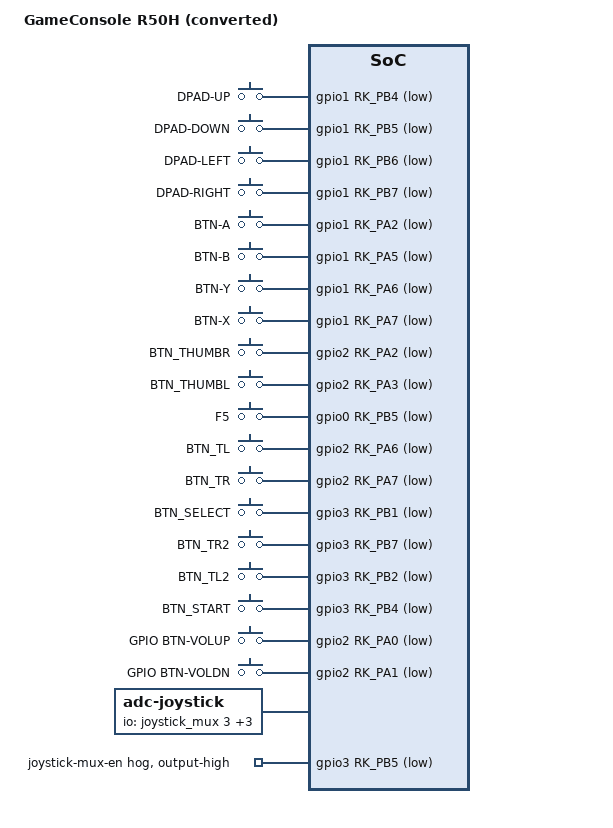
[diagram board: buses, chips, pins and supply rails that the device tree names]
// SPDX-License-Identifier: (GPL-2.0+ OR MIT)
/*
 * GameConsole R50H, converted from a vendor RK3326 device tree by
 * `r36os dtb import` (boot-dtb-select D12). Do not edit: import again.
 * Source: arkos4clone/boot/dArkOS/consoles/r50h/rk3326-r50h-linux.dtb
 * SHA-256: b7702b13e829277030dcd07e79c0c25a033b4d4e655411403a77e7fe398e3fed
 * Note: sticks: axes from the ROCKNIX joypad mapping, not measured
 * Note: speaker gain: source spk-volume 3 ignored, the native safe value is used
 */

#include "rk3326-r36s-v5.dts"

/ {
	model = "GameConsole R50H (converted)";

	lume-select {
		lume,id = "arkos4clone-r50h";
		lume,priority = <0>;
		/delete-property/ lume,default;
	};

	/delete-node/ gpio-keys;
	/delete-node/ volume-keys;

	gpio-keys {
		compatible = "gpio-keys";
		pinctrl-names = "default";
		pinctrl-0 = <&btn_pins>;

		button-dpad-up {
			gpios = <&gpio1 RK_PB4 GPIO_ACTIVE_LOW>;
			label = "DPAD-UP";
			linux,code = <0x220>;
		};

		button-dpad-down {
			gpios = <&gpio1 RK_PB5 GPIO_ACTIVE_LOW>;
			label = "DPAD-DOWN";
			linux,code = <0x221>;
		};

		button-dpad-left {
			gpios = <&gpio1 RK_PB6 GPIO_ACTIVE_LOW>;
			label = "DPAD-LEFT";
			linux,code = <0x222>;
		};

		button-dpad-right {
			gpios = <&gpio1 RK_PB7 GPIO_ACTIVE_LOW>;
			label = "DPAD-RIGHT";
			linux,code = <0x223>;
		};

		button-btn-a {
			gpios = <&gpio1 RK_PA2 GPIO_ACTIVE_LOW>;
			label = "BTN-A";
			linux,code = <0x131>;
		};

		button-btn-b {
			gpios = <&gpio1 RK_PA5 GPIO_ACTIVE_LOW>;
			label = "BTN-B";
			linux,code = <0x130>;
		};

		button-btn-y {
			gpios = <&gpio1 RK_PA6 GPIO_ACTIVE_LOW>;
			label = "BTN-Y";
			linux,code = <0x134>;
		};

		button-btn-x {
			gpios = <&gpio1 RK_PA7 GPIO_ACTIVE_LOW>;
			label = "BTN-X";
			linux,code = <0x133>;
		};

		button-btn-thumbr {
			gpios = <&gpio2 RK_PA2 GPIO_ACTIVE_LOW>;
			label = "BTN_THUMBR";
			linux,code = <0x2c2>;
		};

		button-btn-thumbl {
			gpios = <&gpio2 RK_PA3 GPIO_ACTIVE_LOW>;
			label = "BTN_THUMBL";
			linux,code = <0x2c3>;
		};

		button-f5 {
			gpios = <&gpio0 RK_PB5 GPIO_ACTIVE_LOW>;
			label = "F5";
			linux,code = <0x2c4>;
		};

		button-btn-tl {
			gpios = <&gpio2 RK_PA6 GPIO_ACTIVE_LOW>;
			label = "BTN_TL";
			linux,code = <0x136>;
		};

		button-btn-tr {
			gpios = <&gpio2 RK_PA7 GPIO_ACTIVE_LOW>;
			label = "BTN_TR";
			linux,code = <0x137>;
		};

		button-btn-select {
			gpios = <&gpio3 RK_PB1 GPIO_ACTIVE_LOW>;
			label = "BTN_SELECT";
			linux,code = <0x2c0>;
		};

		button-btn-tr2 {
			gpios = <&gpio3 RK_PB7 GPIO_ACTIVE_LOW>;
			label = "BTN_TR2";
			linux,code = <0x139>;
		};

		button-btn-tl2 {
			gpios = <&gpio3 RK_PB2 GPIO_ACTIVE_LOW>;
			label = "BTN_TL2";
			linux,code = <0x138>;
		};

		button-btn-start {
			gpios = <&gpio3 RK_PB4 GPIO_ACTIVE_LOW>;
			label = "BTN_START";
			linux,code = <0x2c1>;
		};
	};

	volume-keys {
		compatible = "gpio-keys";
		pinctrl-names = "default";
		pinctrl-0 = <&vol_pins>;
		autorepeat;

		button-gpio-btn-volup {
			gpios = <&gpio2 RK_PA0 GPIO_ACTIVE_LOW>;
			label = "GPIO BTN-VOLUP";
			linux,code = <0x73>;
		};

		button-gpio-btn-voldn {
			gpios = <&gpio2 RK_PA1 GPIO_ACTIVE_LOW>;
			label = "GPIO BTN-VOLDN";
			linux,code = <0x72>;
		};
	};

	/delete-node/ adc-joystick;

	adc-joystick {
		compatible = "adc-joystick";
		io-channels = <&joystick_mux 3>,
			      <&joystick_mux 1>,
			      <&joystick_mux 2>,
			      <&joystick_mux 0>;
		poll-interval = <10>;
		#address-cells = <1>;
		#size-cells = <0>;

		axis@0 {
			reg = <0>;
			abs-flat = <32>;
			abs-fuzz = <32>;
			abs-range = <0 1023>;
			linux,code = <ABS_RY>;
		};

		axis@1 {
			reg = <1>;
			abs-flat = <32>;
			abs-fuzz = <32>;
			abs-range = <0 1023>;
			linux,code = <ABS_RX>;
		};

		axis@2 {
			reg = <2>;
			abs-flat = <32>;
			abs-fuzz = <32>;
			abs-range = <1023 0>;
			linux,code = <ABS_Y>;
		};

		axis@3 {
			reg = <3>;
			abs-flat = <32>;
			abs-fuzz = <32>;
			abs-range = <1023 0>;
			linux,code = <ABS_X>;
		};
	};

	mux-controller {
		mux-gpios = <&gpio3 RK_PB3 GPIO_ACTIVE_LOW>,
			    <&gpio3 RK_PB0 GPIO_ACTIVE_LOW>;
	};

	adc-mux {
		io-channels = <&saradc 1>;
	};

	/delete-node/ gpio-leds;

	rk817-sound {
		simple-audio-card,hp-det-gpios = <&gpio2 RK_PC6 GPIO_ACTIVE_LOW>;
	};
};

&internal_display {
	compatible = "rocknix,generic-dsi";
	/delete-property/ vcc-supply;
	vdd-supply = <&vcc_lcd>;
	reset-gpios = <&gpio3 RK_PC0 GPIO_ACTIVE_LOW>;
	panel_description =
		"G size=62,110 delays=20,150,20,120,20 format=rgb888 lanes=4 flags=0xe03",
		"M clock=64000 horizontal=720,40,8,50 vertical=1280,8,6,9 default=1",
		"I seq=ff988107",
		"I seq=0320",
		"I seq=0406",
		"I seq=0500",
		"I seq=0601",
		"I seq=0700",
		"I seq=0800",
		"I seq=0900",
		"I seq=0a00",
		"I seq=0b2f",
		"I seq=0c00",
		"I seq=0d00",
		"I seq=0e00",
		"I seq=0f00",
		"I seq=1040",
		"I seq=1102",
		"I seq=1205",
		"I seq=1300",
		"I seq=1400",
		"I seq=1500",
		"I seq=162f",
		"I seq=172f",
		"I seq=1800",
		"I seq=1900",
		"I seq=1a00",
		"I seq=1b50",
		"I seq=1cbc",
		"I seq=1d0c",
		"I seq=1e00",
		"I seq=1f00",
		"I seq=2000",
		"I seq=2100",
		"I seq=2200",
		"I seq=23c0",
		"I seq=2430",
		"I seq=2500",
		"I seq=2600",
		"I seq=2703",
		"I seq=3001",
		"I seq=3123",
		"I seq=3245",
		"I seq=3367",
		"I seq=3489",
		"I seq=35ab",
		"I seq=3601",
		"I seq=3723",
		"I seq=3845",
		"I seq=3967",
		"I seq=3a89",
		"I seq=3bab",
		"I seq=3ccd",
		"I seq=3def",
		"I seq=5011",
		"I seq=5106",
		"I seq=520c",
		"I seq=530d",
		"I seq=540e",
		"I seq=550f",
		"I seq=5602",
		"I seq=5702",
		"I seq=5802",
		"I seq=5902",
		"I seq=5a02",
		"I seq=5b02",
		"I seq=5c02",
		"I seq=5d02",
		"I seq=5e02",
		"I seq=5f02",
		"I seq=6005",
		"I seq=6105",
		"I seq=6205",
		"I seq=6302",
		"I seq=6401",
		"I seq=6500",
		"I seq=6608",
		"I seq=6708",
		"I seq=680c",
		"I seq=690d",
		"I seq=6a0e",
		"I seq=6b0f",
		"I seq=6c02",
		"I seq=6d02",
		"I seq=6e02",
		"I seq=6f02",
		"I seq=7002",
		"I seq=7102",
		"I seq=7202",
		"I seq=7302",
		"I seq=7402",
		"I seq=7502",
		"I seq=7605",
		"I seq=7705",
		"I seq=7805",
		"I seq=7902",
		"I seq=7a01",
		"I seq=7b00",
		"I seq=7c06",
		"I seq=ff988108",
		"I seq=76b4",
		"I seq=7802",
		"I seq=742b",
		"I seq=8e15",
		"I seq=4001",
		"I seq=8481",
		"I seq=7225",
		"I seq=e375",
		"I seq=7dcb",
		"I seq=7e49",
		"I seq=4910",
		"I seq=3205",
		"I seq=3c05",
		"I seq=ff988101",
		"I seq=220a",
		"I seq=4301",
		"I seq=5382",
		"I seq=5585",
		"I seq=50b9",
		"I seq=51ba",
		"I seq=3100",
		"I seq=a000",
		"I seq=a114",
		"I seq=a22b",
		"I seq=a316",
		"I seq=a41c",
		"I seq=a52e",
		"I seq=a618",
		"I seq=a720",
		"I seq=a878",
		"I seq=a920",
		"I seq=aa2a",
		"I seq=ab83",
		"I seq=ac25",
		"I seq=ad1b",
		"I seq=ae54",
		"I seq=af2b",
		"I seq=b02b",
		"I seq=b14f",
		"I seq=b267",
		"I seq=b339",
		"I seq=c000",
		"I seq=c114",
		"I seq=c22b",
		"I seq=c316",
		"I seq=c41c",
		"I seq=c52e",
		"I seq=c618",
		"I seq=c720",
		"I seq=c878",
		"I seq=c920",
		"I seq=ca2a",
		"I seq=cb83",
		"I seq=cc25",
		"I seq=cd1b",
		"I seq=ce54",
		"I seq=cf2b",
		"I seq=d02b",
		"I seq=d14f",
		"I seq=d267",
		"I seq=d339",
		"I seq=ff988100",
		"I seq=11 wait=78",
		"I seq=29 wait=14";
};

&dsi {
	/delete-property/ rockchip,lane-rate;
	/delete-property/ rockchip,phy-hstt;
};

&backlight {
	pwms = <&pwm1 0 40000 0>;
	/delete-property/ num-interpolated-steps;
	brightness-levels = <0 1 2 3 4 5 6 7 8 9 10 11 12 13 14 15 16 17 18 19 20 21 22 23 24 25 26 27 28 29 30 31 32 33 34 35 36 37 38 39 40 41 42 43 44 45 46 47 48 49 50 51 52 53 54 55 56 57 58 59 60 61 62 63 64 65 66 67 68 69 70 71 72 73 74 75 76 77 78 79 80 81 82 83 84 85 86 87 88 89 90 91 92 93 94 95 96 97 98 99 100 101 102 103 104 105 106 107 108 109 110 111 112 113 114 115 116 117 118 119 120 121 122 123 124 125 126 127 128 129 130 131 132 133 134 135 136 137 138 139 140 141 142 143 144 145 146 147 148 149 150 151 152 153 154 155 156 157 158 159 160>;
	default-brightness-level = <80>;
};

&battery {
	charge-full-design-microamp-hours = <3380000>;
	voltage-max-design-microvolt = <4045000>;
	voltage-min-design-microvolt = <3165000>;
	ocv-capacity-table-0 = <4045000 100>,
				<4020000 95>,
				<3990000 90>,
				<3950000 85>,
				<3910000 80>,
				<3870000 75>,
				<3830000 70>,
				<3790000 65>,
				<3750000 60>,
				<3710000 55>,
				<3670000 50>,
				<3630000 45>,
				<3580000 40>,
				<3530000 35>,
				<3480000 30>,
				<3430000 25>,
				<3380000 20>,
				<3330000 15>,
				<3280000 10>,
				<3220000 5>,
				<3165000 0>;
};

&spk_amp {
	/delete-property/ enable-gpios;
	/delete-property/ pinctrl-names;
	/delete-property/ pinctrl-0;
};

&rk817 {
	interrupt-parent = <&gpio0>;
	interrupts = <RK_PB2 IRQ_TYPE_LEVEL_LOW>;
};

&gpio0 {
	/delete-node/ joystick-mux-en-hog;
};

&gpio1 {
	/delete-node/ lcd-enable-hog;
};

&gpio3 {
	/delete-node/ lcd-stbyb-hog;
	joystick-mux-en-hog {
		gpio-hog;
		gpios = <RK_PB5 GPIO_ACTIVE_LOW>;
		output-high;
		line-name = "joystick-mux-en";
	};
};

&btn_pins {
	rockchip,pins =
		<1 RK_PB4 RK_FUNC_GPIO &pcfg_pull_up>,
		<1 RK_PB5 RK_FUNC_GPIO &pcfg_pull_up>,
		<1 RK_PB6 RK_FUNC_GPIO &pcfg_pull_up>,
		<1 RK_PB7 RK_FUNC_GPIO &pcfg_pull_up>,
		<1 RK_PA2 RK_FUNC_GPIO &pcfg_pull_up>,
		<1 RK_PA5 RK_FUNC_GPIO &pcfg_pull_up>,
		<1 RK_PA6 RK_FUNC_GPIO &pcfg_pull_up>,
		<1 RK_PA7 RK_FUNC_GPIO &pcfg_pull_up>,
		<2 RK_PA2 RK_FUNC_GPIO &pcfg_pull_up>,
		<2 RK_PA3 RK_FUNC_GPIO &pcfg_pull_up>,
		<0 RK_PB5 RK_FUNC_GPIO &pcfg_pull_up>,
		<2 RK_PA6 RK_FUNC_GPIO &pcfg_pull_up>,
		<2 RK_PA7 RK_FUNC_GPIO &pcfg_pull_up>,
		<3 RK_PB1 RK_FUNC_GPIO &pcfg_pull_up>,
		<3 RK_PB7 RK_FUNC_GPIO &pcfg_pull_up>,
		<3 RK_PB2 RK_FUNC_GPIO &pcfg_pull_up>,
		<3 RK_PB4 RK_FUNC_GPIO &pcfg_pull_up>;
};

&vol_pins {
	rockchip,pins =
		<2 RK_PA0 RK_FUNC_GPIO &pcfg_pull_up>,
		<2 RK_PA1 RK_FUNC_GPIO &pcfg_pull_up>;
};

&hp_det {
	rockchip,pins = <2 RK_PC6 RK_FUNC_GPIO &pcfg_pull_none>;
};

&pmic_int {
	rockchip,pins = <0 RK_PB2 RK_FUNC_GPIO &pcfg_pull_up>;
};
